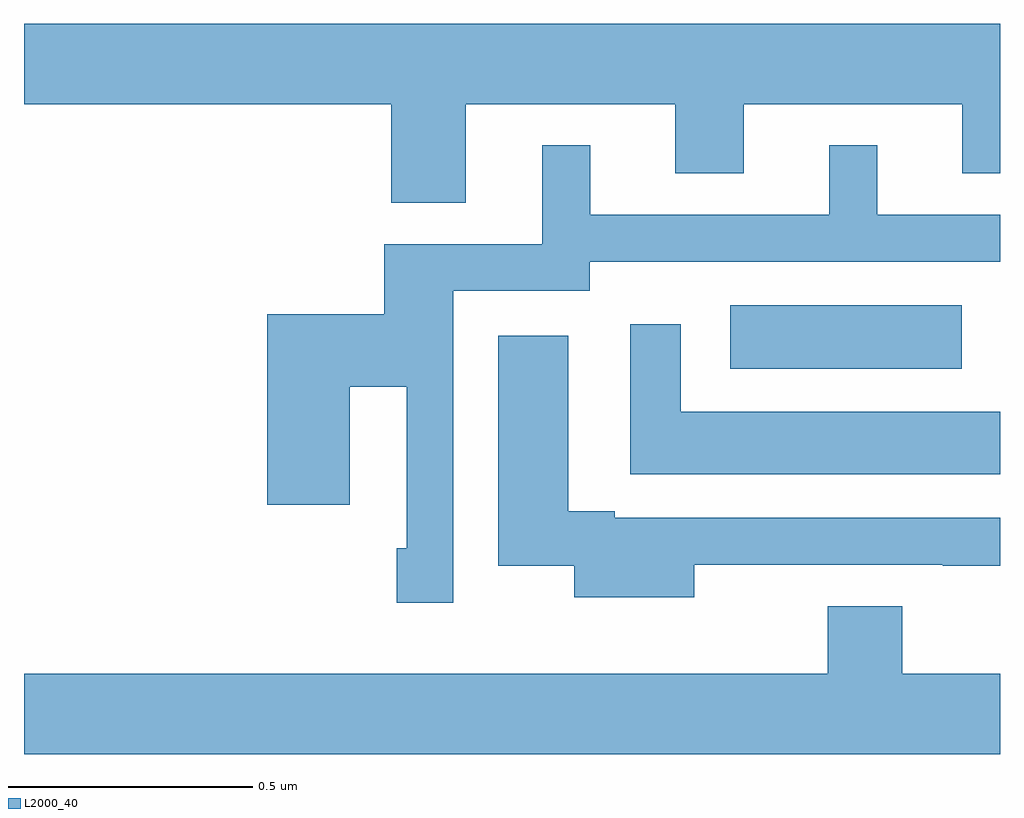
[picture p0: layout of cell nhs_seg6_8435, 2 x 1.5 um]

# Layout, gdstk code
import gdstk
lib = gdstk.Library(unit=1e-6, precision=1e-09)
def R(c, l, rs):  # rectangles x0, y0, x1, y1
    for r in rs: c.add(gdstk.rectangle(r[:2], r[2:], *l))
def P(c, l, *ps):  # polygons
    for p in ps: c.add(gdstk.Polygon(p, *l))
L2000_40 = (2000, 40)

nhs_seg6_8435 = lib.new_cell('nhs_seg6_8435')
R(nhs_seg6_8435, L2000_40, [(222.447,946.793,222.922,946.924)])
P(nhs_seg6_8435, L2000_40, [(221.905,947.336),(222.335,947.336),(222.335,947.194),(222.475,947.194),(222.475,947.336),(222.923,947.336),(222.923,947.194),(223,947.194),(223,947.5),(221,947.5),(221,947.336),(221.753,947.336),(221.753,947.134),(221.905,947.134)],
  [(221.88,946.953),(222.159,946.953),(222.159,947.013),(223,947.013),(223,947.109),(222.748,947.109),(222.748,947.251),(222.65,947.251),(222.65,947.109),(222.16,947.109),(222.16,947.251),(222.062,947.251),(222.062,947.049),(221.738,947.049),(221.738,946.905),(221.498,946.905),(221.498,946.515),(221.668,946.515),(221.668,946.757),(221.784,946.757),(221.784,946.426),(221.764,946.426),(221.764,946.314),(221.88,946.314)],
  [(223,946.705),(222.346,946.705),(222.346,946.885),(222.242,946.885),(222.242,946.577),(223,946.577)],
  [(222.373,946.392),(222.883,946.392),(222.883,946.39),(223,946.39),(223,946.488),(222.211,946.488),(222.211,946.501),(222.115,946.501),(222.115,946.861),(221.972,946.861),(221.972,946.39),(222.128,946.39),(222.128,946.325),(222.373,946.325)],
  [(223,946.168),(222.8,946.168),(222.8,946.307),(222.647,946.307),(222.647,946.168),(221,946.168),(221,946.004),(223,946.004)])

lib.write_gds('nhs_seg6_8435.gds')
